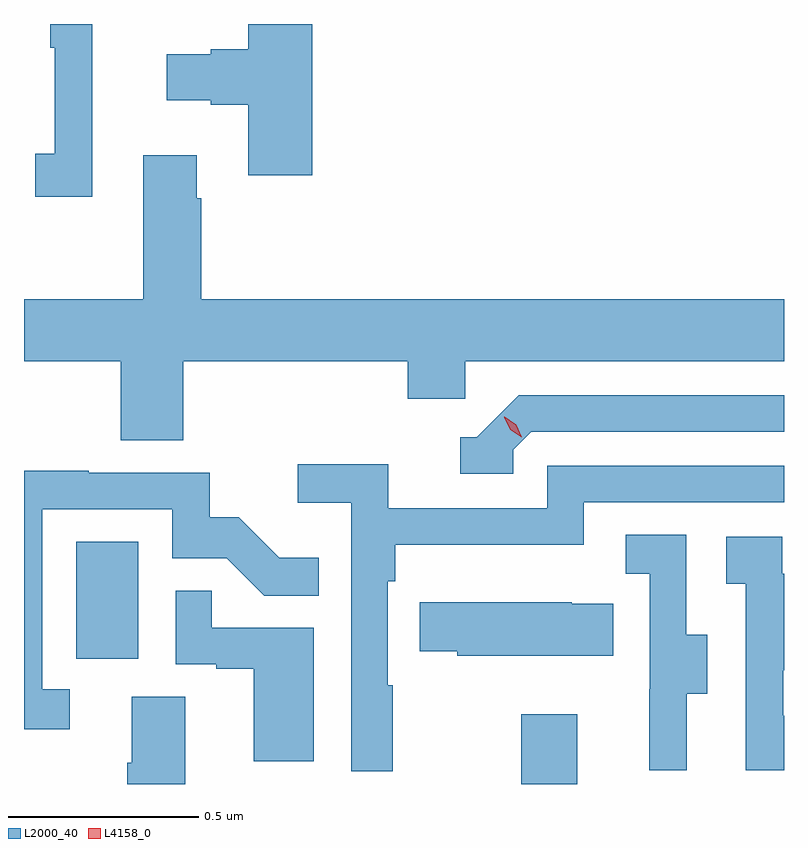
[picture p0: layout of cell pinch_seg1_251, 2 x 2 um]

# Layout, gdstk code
import gdstk
lib = gdstk.Library(unit=1e-6, precision=1e-09)
def R(c, l, rs):  # rectangles x0, y0, x1, y1
    for r in rs: c.add(gdstk.rectangle(r[:2], r[2:], *l))
def P(c, l, *ps):  # polygons
    for p in ps: c.add(gdstk.Polygon(p, *l))
L2000_40 = (2000, 40)
L4158_0 = (4158, 0)

pinch_seg1_251 = lib.new_cell('pinch_seg1_251')
R(pinch_seg1_251, L2000_40, [(903.088,566.604,903.235,566.788), (901.916,566.934,902.08,567.241)])
P(pinch_seg1_251, L2000_40, [(902.537,568.604),(902.369,568.604),(902.369,568.538),(902.27,568.538),(902.27,568.525),(902.154,568.525),(902.154,568.403),(902.27,568.403),(902.27,568.391),(902.369,568.391),(902.369,568.206),(902.537,568.206)],
  [(901.958,568.604),(901.848,568.604),(901.848,568.541),(901.86,568.541),(901.86,568.262),(901.809,568.262),(901.809,568.149),(901.958,568.149)],
  [(901.779,567.716),(902.033,567.716),(902.033,567.508),(902.198,567.508),(902.198,567.716),(902.789,567.716),(902.789,567.618),(902.94,567.618),(902.94,567.716),(903.779,567.716),(903.779,567.88),(902.246,567.88),(902.246,568.145),(902.233,568.145),(902.233,568.258),(902.093,568.258),(902.093,567.88),(901.779,567.88)],
  [(903.066,567.483),(903.114,567.531),(903.779,567.531),(903.779,567.627),(903.081,567.627),(902.97,567.516),(902.927,567.516),(902.927,567.42),(903.066,567.42)],
  [(902.749,566.864),(902.736,566.864),(902.736,567.137),(902.756,567.137),(902.756,567.233),(903.252,567.233),(903.252,567.345),(903.779,567.345),(903.779,567.441),(903.156,567.441),(903.156,567.33),(902.738,567.33),(902.738,567.446),(902.499,567.446),(902.499,567.344),(902.64,567.344),(902.64,566.637),(902.749,566.637)],
  [(901.9,566.853),(901.827,566.853),(901.827,567.327),(902.169,567.327),(902.169,567.198),(902.313,567.198),(902.411,567.1),(902.555,567.1),(902.555,567.199),(902.451,567.199),(902.344,567.306),(902.268,567.306),(902.268,567.423),(901.949,567.423),(901.949,567.428),(901.779,567.428),(901.779,566.748),(901.9,566.748)],
  [(903.523,566.842),(903.577,566.842),(903.577,566.997),(903.522,566.997),(903.522,567.26),(903.363,567.26),(903.363,567.157),(903.426,567.157),(903.426,566.853),(903.425,566.853),(903.425,566.64),(903.523,566.64)],
  [(903.779,566.784),(903.777,566.784),(903.777,566.903),(903.779,566.903),(903.779,567.157),(903.774,567.157),(903.774,567.255),(903.627,567.255),(903.627,567.131),(903.678,567.131),(903.678,566.64),(903.779,566.64)],
  [(902.542,567.015),(902.273,567.015),(902.273,567.113),(902.178,567.113),(902.178,566.919),(902.285,566.919),(902.285,566.907),(902.384,566.907),(902.384,566.664),(902.542,566.664)],
  [(903.329,567.079),(903.221,567.079),(903.221,567.082),(902.821,567.082),(902.821,566.953),(902.919,566.953),(902.919,566.942),(903.329,566.942)],
  [(902.203,566.834),(902.063,566.834),(902.063,566.66),(902.051,566.66),(902.051,566.604),(902.203,566.604)])
P(pinch_seg1_251, L4158_0, [(903.089,567.517),(903.059,567.536),(903.043,567.569),(903.043,567.57),(903.044,567.57),(903.074,567.55),(903.089,567.517),(903.089,567.517)])

lib.write_gds('pinch_seg1_251.gds')
